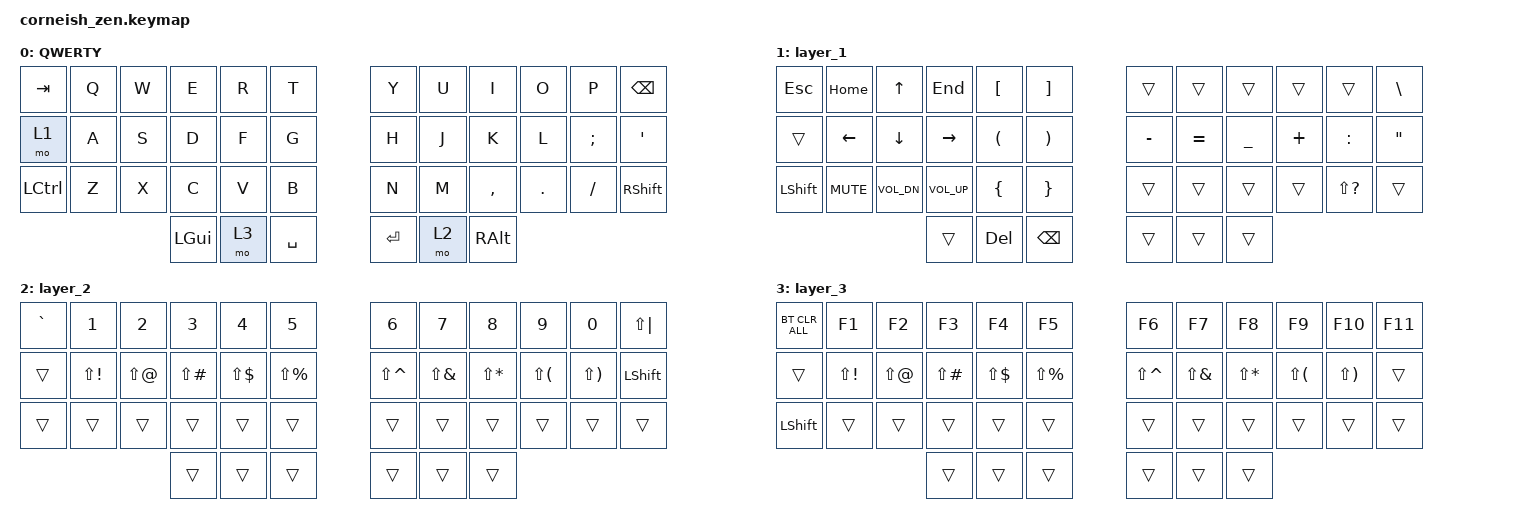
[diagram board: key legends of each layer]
#include <behaviors.dtsi>
#include <dt-bindings/zmk/bt.h>
#include <dt-bindings/zmk/keys.h>

/ {
    chosen {
        zmk,matrix_transform = &default_transform;

        //zmk,matrix_transform = &five_column_transform;
    };
};

/ {
    keymap {
        compatible = "zmk,keymap";

        default_layer {
            label = "QWERTY";

            // -----------------------------------------------------------------------------------------
            // |  TAB |  Q  |  W  |  E  |  R  |  T  |   |  Y  |  U   |  I  |  O  |  P  | BKSP |
            // | CTRL |  A  |  S  |  D  |  F  |  G  |   |  H  |  J   |  K  |  L  |  ;  |  '   |
            // | SHFT |  Z  |  X  |  C  |  V  |  B  |   |  N  |  M   |  ,  |  .  |  /  | ESC  |
            //                    | GUI | LWR | SPC |   | ENT | RSE  | ALT |

            bindings = <
&kp TAB    &kp Q  &kp W  &kp E     &kp R  &kp T        &kp Y    &kp U  &kp I      &kp O    &kp P     &kp BSPC
&mo 1      &kp A  &kp S  &kp D     &kp F  &kp G        &kp H    &kp J  &kp K      &kp L    &kp SEMI  &kp SQT
&kp LCTRL  &kp Z  &kp X  &kp C     &kp V  &kp B        &kp N    &kp M  &kp COMMA  &kp DOT  &kp FSLH  &kp RIGHT_SHIFT
                         &kp LGUI  &mo 3  &kp SPACE    &kp RET  &mo 2  &kp RALT
            >;
        };

        layer_1 {
            bindings = <
&kp ESCAPE      &kp HOME    &kp UP        &kp END       &kp LBKT              &kp RBKT         &trans     &trans     &trans     &trans    &trans         &kp BSLH
&trans          &kp LEFT    &kp DOWN      &kp RIGHT     &kp LEFT_PARENTHESIS  &kp RPAR         &kp MINUS  &kp EQUAL  &kp UNDER  &kp PLUS  &kp COLON      &kp DOUBLE_QUOTES
&kp LEFT_SHIFT  &kp C_MUTE  &kp C_VOL_DN  &kp C_VOL_UP  &kp LEFT_BRACE        &kp RBRC         &trans     &trans     &trans     &trans    &kp LS(QMARK)  &trans
                                          &trans        &kp DELETE            &kp BACKSPACE    &trans     &trans     &trans
            >;
        };

        layer_2 {
            bindings = <
&kp GRAVE  &kp N1        &kp N2      &kp N3         &kp N4        &kp N5           &kp N6         &kp N7        &kp N8        &kp N9        &kp N0        &kp LS(PIPE)
&trans     &kp LS(EXCL)  &kp LS(AT)  &kp LS(POUND)  &kp LS(DLLR)  &kp LS(PRCNT)    &kp LS(CARET)  &kp LS(AMPS)  &kp LS(STAR)  &kp LS(LPAR)  &kp LS(RPAR)  &kp LSHFT
&trans     &trans        &trans      &trans         &trans        &trans           &trans         &trans        &trans        &trans        &trans        &trans
                                     &trans         &trans        &trans           &trans         &trans        &trans
            >;
        };

        layer_3 {
            bindings = <
&bt BT_CLR_ALL  &kp F1        &kp F2      &kp F3         &kp F4        &kp F5           &kp F6         &kp F7        &kp F8        &kp F9        &kp F10       &kp F11
&trans          &kp LS(EXCL)  &kp LS(AT)  &kp LS(POUND)  &kp LS(DLLR)  &kp LS(PRCNT)    &kp LS(CARET)  &kp LS(AMPS)  &kp LS(STAR)  &kp LS(LPAR)  &kp LS(RPAR)  &trans
&kp LEFT_SHIFT  &trans        &trans      &trans         &trans        &trans           &trans         &trans        &trans        &trans        &trans        &trans
                                          &trans         &trans        &trans           &trans         &trans        &trans
            >;
        };
    };
};
